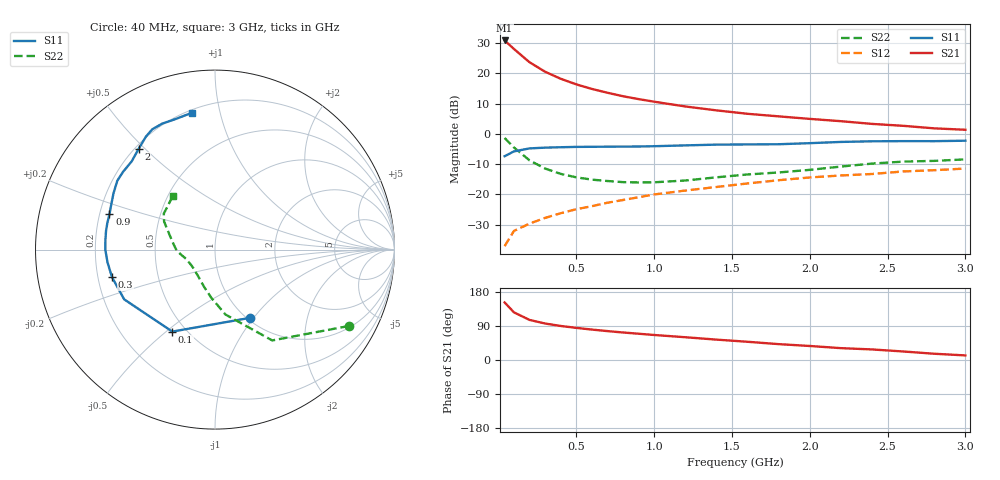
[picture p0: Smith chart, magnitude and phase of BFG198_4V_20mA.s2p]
! Filename:  BFG198B.S2P  Version:  2.0
! Philips part #: BFG198  Date: Jul 1990
! Bias condition: Vce=4V, Ic=20mA
#  MHz  S  MA  R  50
! Freq  S11  S21  S12  S22  !GUM [dB]
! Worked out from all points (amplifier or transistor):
!   21 points, 40 MHz to 3 GHz, reference 50 ohm
!   highest |S21| = 30.9 dB at 40 MHz (marker M1)
!   |S21| within 3 dB of that: start of sweep to 104.5 MHz
!   unconditionally stable (mu >= 1): 553.7 MHz to 2.476 GHz; 2.646 GHz to 2.955 GHz
!   at 300 MHz: K = 0.80, MSG = 24.1 dB, |S12| = -27.7 dB
!   at 1 GHz: K = 1.09, MAG = 13.5 dB, |S12| = -20.0 dB
!   at 3 GHz: K = 0.99, MSG = 6.4 dB, |S12| = -11.4 dB
!   S11 on the Smith chart (normalised r, x): 40 MHz: 1.03, -0.96; 100 MHz: 0.42, -0.52; 300 MHz: 0.26, -0.12; 900 MHz: 0.24, +0.15; 2 GHz: 0.21, +0.48; 3 GHz: 0.22, +0.82
40  0.428 -62.6  35.01 151.9  0.014 66.7  0.859 -29.7
100  0.515 -117.5  25.36 125.7  0.025 54.6  0.598 -57.8
200  0.577 -151.3  15.28 105.8  0.033 51.1  0.366 -80.9
300  0.594 -165.0  10.66 96.3  0.041 54.5  0.268 -94.6
400  0.603 -173.2  8.159 89.8  0.049 57.2  0.219 -105.5
500  0.611 -179.9  6.596 84.8  0.057 59.7  0.192 -114.5
600  0.613 175.1  5.543 80.3  0.064 60.9  0.176 -121.9
700  0.616 170.2  4.796 76.3  0.073 63.0  0.167 -129.1
800  0.618 166.0  4.198 72.6  0.081 63.6  0.16 -135.6
900  0.62 161.5  3.762 69.4  0.09 64.1  0.158 -142.7
1000  0.627 157.9  3.411 66.0  0.1 64.8  0.159 -149.5
1200  0.647 150.9  2.845 60.1  0.116 64.5  0.17 -162.6
1400  0.666 144.8  2.453 53.8  0.133 63.5  0.192 -171.8
1600  0.671 139.8  2.152 48.1  0.152 63.3  0.214 -178.8
1800  0.676 133.4  1.952 41.9  0.172 60.2  0.231 173.3
2000  0.704 127.2  1.773 37.0  0.191 59.1  0.255 165.0
2200  0.738 121.4  1.624 31.3  0.206 56.5  0.289 157.0
2400  0.756 117.5  1.466 27.9  0.218 56.0  0.324 151.1
2600  0.761 112.8  1.362 22.5  0.24 52.4  0.349 144.8
2800  0.76 106.7  1.237 16.5  0.252 47.4  0.359 136.8
3000  0.773 99.6  1.172 12.1  0.268 46.0  0.38 128.4
